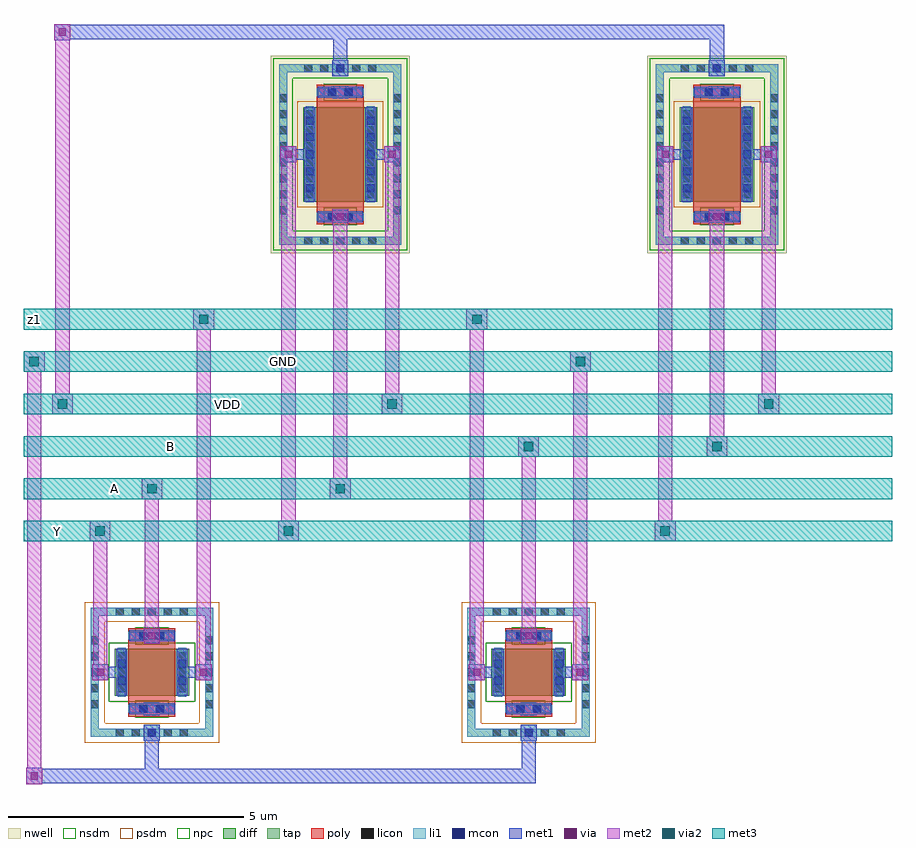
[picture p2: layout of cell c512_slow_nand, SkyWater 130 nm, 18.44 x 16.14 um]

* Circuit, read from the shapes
.subckt c512_slow_nand A B GND VDD Y z1
XM1 z1 A Y GND sky130_fd_pr__nfet_01v8 w=1 l=1
XM2 GND B z1 GND sky130_fd_pr__nfet_01v8 w=1 l=1
XM3 VDD A Y VDD sky130_fd_pr__pfet_01v8 w=2 l=1
XM4 VDD B Y VDD sky130_fd_pr__pfet_01v8 w=2 l=1
.ends

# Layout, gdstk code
import gdstk
lib = gdstk.Library(unit=1e-6, precision=1e-09)
def R(c, l, rs):  # rectangles x0, y0, x1, y1
    for r in rs: c.add(gdstk.rectangle(r[:2], r[2:], *l))
def A(c, l, x, y, w, h, nx, ny, dx, dy):  # array of equal rectangles
    R(c, l, [(x+i*dx, y+j*dy, x+i*dx+w, y+j*dy+h) for i in range(nx) for j in range(ny)])
nwell = (64, 20)
diff = (65, 20)
tap = (65, 44)
poly = (66, 20)
licon = (66, 44)
li1 = (67, 20)
mcon = (67, 44)
met1 = (68, 20)
via = (68, 44)
met2 = (69, 20)
via2 = (69, 44)
met3 = (70, 20)
nsdm = (93, 44)
psdm = (94, 20)
npc = (95, 20)

c512_slow_nand = lib.new_cell('c512_slow_nand')
R(c512_slow_nand, nwell, [(5.52,8.905,8.48,13.095), (13.52,8.905,16.48,13.095)])
R(c512_slow_nand, diff, [(2.21,-0.5,3.79,0.5), (10.21,-0.5,11.79,0.5), (6.21,10,7.79,12), (14.21,10,15.79,12)])
R(c512_slow_nand, tap, [(1.7,-1.37,4.3,-1.2), (9.7,-1.37,12.3,-1.2), (1.7,-1.2,1.87,1.2), (4.13,-1.2,4.3,1.2), (9.7,-1.2,9.87,1.2), (12.13,-1.2,12.3,1.2), (1.7,1.2,4.3,1.37), (9.7,1.2,12.3,1.37), (5.7,9.085,8.3,9.255), (13.7,9.085,16.3,9.255), (5.7,9.255,5.87,12.745), (8.13,9.255,8.3,12.745), (13.7,9.255,13.87,12.745), (16.13,9.255,16.3,12.745), (5.7,12.745,8.3,12.915), (13.7,12.745,16.3,12.915)])
R(c512_slow_nand, poly, [(2.5,-0.94,3.5,0.94), (10.5,-0.94,11.5,0.94), (6.5,9.515,7.5,12.485), (14.5,9.515,15.5,12.485)])
A(c512_slow_nand, licon, 2.235, -1.37, 0.17, 0.17, 5, 2, 0.34, 2.57)
A(c512_slow_nand, licon, 10.235, -1.37, 0.17, 0.17, 5, 2, 0.34, 2.57)
A(c512_slow_nand, licon, 1.7, -0.765, 0.17, 0.17, 1, 5, 0, 0.34)
A(c512_slow_nand, licon, 4.13, -0.765, 0.17, 0.17, 1, 5, 0, 0.34)
A(c512_slow_nand, licon, 9.7, -0.765, 0.17, 0.17, 1, 5, 0, 0.34)
A(c512_slow_nand, licon, 12.13, -0.765, 0.17, 0.17, 1, 5, 0, 0.34)
A(c512_slow_nand, licon, 2.27, -0.425, 0.17, 0.17, 1, 3, 0, 0.34)
A(c512_slow_nand, licon, 3.56, -0.425, 0.17, 0.17, 1, 3, 0, 0.34)
A(c512_slow_nand, licon, 10.27, -0.425, 0.17, 0.17, 1, 3, 0, 0.34)
A(c512_slow_nand, licon, 11.56, -0.425, 0.17, 0.17, 1, 3, 0, 0.34)
A(c512_slow_nand, licon, 6.235, 9.085, 0.17, 0.17, 5, 2, 0.34, 3.66)
A(c512_slow_nand, licon, 14.235, 9.085, 0.17, 0.17, 5, 2, 0.34, 3.66)
A(c512_slow_nand, licon, 5.7, 9.725, 0.17, 0.17, 1, 8, 0, 0.34)
A(c512_slow_nand, licon, 8.13, 9.725, 0.17, 0.17, 1, 8, 0, 0.34)
A(c512_slow_nand, licon, 13.7, 9.725, 0.17, 0.17, 1, 8, 0, 0.34)
A(c512_slow_nand, licon, 16.13, 9.725, 0.17, 0.17, 1, 8, 0, 0.34)
A(c512_slow_nand, licon, 6.27, 10.065, 0.17, 0.17, 1, 6, 0, 0.34)
A(c512_slow_nand, licon, 7.56, 10.065, 0.17, 0.17, 1, 6, 0, 0.34)
A(c512_slow_nand, licon, 14.27, 10.065, 0.17, 0.17, 1, 6, 0, 0.34)
A(c512_slow_nand, licon, 15.56, 10.065, 0.17, 0.17, 1, 6, 0, 0.34)
R(c512_slow_nand, licon, [(2.745,-0.86,2.915,-0.69), (3.085,-0.86,3.255,-0.69), (10.745,-0.86,10.915,-0.69), (11.085,-0.86,11.255,-0.69), (2.745,0.69,2.915,0.86), (3.085,0.69,3.255,0.86), (10.745,0.69,10.915,0.86), (11.085,0.69,11.255,0.86), (6.745,9.595,6.915,9.765), (7.085,9.595,7.255,9.765), (14.745,9.595,14.915,9.765), (15.085,9.595,15.255,9.765), (6.745,12.235,6.915,12.405), (7.085,12.235,7.255,12.405), (14.745,12.235,14.915,12.405), (15.085,12.235,15.255,12.405)])
R(c512_slow_nand, li1, [(2.83,-1.455,3.17,-1.37), (10.83,-1.455,11.17,-1.37), (1.7,-1.37,4.3,-1.2), (9.7,-1.37,12.3,-1.2), (1.7,-1.2,1.87,1.2), (2.83,-1.2,3.17,-1.115), (4.13,-1.2,4.3,1.2), (9.7,-1.2,9.87,1.2), (10.83,-1.2,11.17,-1.115), (12.13,-1.2,12.3,1.2), (2.5,-0.86,3.5,-0.69), (10.5,-0.86,11.5,-0.69), (2.27,-0.52,2.44,0.52), (3.56,-0.52,3.73,0.52), (10.27,-0.52,10.44,0.52), (11.56,-0.52,11.73,0.52), (2.5,0.69,3.5,0.86), (10.5,0.69,11.5,0.86), (1.7,1.2,4.3,1.37), (9.7,1.2,12.3,1.37), (5.7,9.085,8.3,9.255), (13.7,9.085,16.3,9.255), (5.7,9.255,5.87,12.745), (8.13,9.255,8.3,12.745), (13.7,9.255,13.87,12.745), (16.13,9.255,16.3,12.745), (6.5,9.595,7.5,9.765), (14.5,9.595,15.5,9.765), (6.27,9.98,6.44,12.02), (7.56,9.98,7.73,12.02), (14.27,9.98,14.44,12.02), (15.56,9.98,15.73,12.02), (6.5,12.235,7.5,12.405), (14.5,12.235,15.5,12.405), (6.83,12.66,7.17,12.745), (14.83,12.66,15.17,12.745), (5.7,12.745,8.3,12.915), (13.7,12.745,16.3,12.915), (6.83,12.915,7.17,13), (14.83,12.915,15.17,13)])
A(c512_slow_nand, mcon, 6.27, 10.195, 0.17, 0.17, 1, 5, 0, 0.36)
A(c512_slow_nand, mcon, 7.56, 10.195, 0.17, 0.17, 1, 5, 0, 0.36)
A(c512_slow_nand, mcon, 14.27, 10.195, 0.17, 0.17, 1, 5, 0, 0.36)
A(c512_slow_nand, mcon, 15.56, 10.195, 0.17, 0.17, 1, 5, 0, 0.36)
R(c512_slow_nand, mcon, [(2.915,-1.37,3.085,-1.2), (10.915,-1.37,11.085,-1.2), (2.735,-0.86,2.905,-0.69), (3.095,-0.86,3.265,-0.69), (10.735,-0.86,10.905,-0.69), (11.095,-0.86,11.265,-0.69), (2.27,-0.265,2.44,-0.095), (3.56,-0.265,3.73,-0.095), (10.27,-0.265,10.44,-0.095), (11.56,-0.265,11.73,-0.095), (2.27,0.095,2.44,0.265), (3.56,0.095,3.73,0.265), (10.27,0.095,10.44,0.265), (11.56,0.095,11.73,0.265), (2.735,0.69,2.905,0.86), (3.095,0.69,3.265,0.86), (10.735,0.69,10.905,0.86), (11.095,0.69,11.265,0.86), (6.735,9.595,6.905,9.765), (7.095,9.595,7.265,9.765), (14.735,9.595,14.905,9.765), (15.095,9.595,15.265,9.765), (6.735,12.235,6.905,12.405), (7.095,12.235,7.265,12.405), (14.735,12.235,14.905,12.405), (15.095,12.235,15.265,12.405), (6.915,12.745,7.085,12.915), (14.915,12.745,15.085,12.915)])
R(c512_slow_nand, met1, [(0.33,-2.37,0.67,-2.35), (0.33,-2.35,11.15,-2.05), (0.33,-2.05,0.67,-2.03), (2.85,-2.05,3.15,-1.455), (10.85,-2.05,11.15,-1.455), (2.83,-1.455,3.17,-1.115), (10.83,-1.455,11.17,-1.115), (2.83,-0.905,3.17,-0.89), (10.83,-0.905,11.17,-0.89), (2.52,-0.89,3.48,-0.66), (10.52,-0.89,11.48,-0.66), (2.83,-0.66,3.17,-0.645), (10.83,-0.66,11.17,-0.645), (2.24,-0.5,2.47,-0.115), (3.53,-0.5,3.76,-0.115), (10.24,-0.5,10.47,-0.115), (11.53,-0.5,11.76,-0.115), (1.73,-0.17,2.07,-0.115), (3.93,-0.17,4.27,-0.115), (9.73,-0.17,10.07,-0.115), (11.93,-0.17,12.27,-0.115), (1.73,-0.115,2.47,0.115), (3.53,-0.115,4.27,0.115), (9.73,-0.115,10.47,0.115), (11.53,-0.115,12.27,0.115), (1.73,0.115,2.07,0.17), (2.24,0.115,2.47,0.5), (3.53,0.115,3.76,0.5), (3.93,0.115,4.27,0.17), (9.73,0.115,10.07,0.17), (10.24,0.115,10.47,0.5), (11.53,0.115,11.76,0.5), (11.93,0.115,12.27,0.17), (2.83,0.645,3.17,0.66), (10.83,0.645,11.17,0.66), (2.52,0.66,3.48,0.89), (10.52,0.66,11.48,0.89), (2.83,0.89,3.17,0.905), (10.83,0.89,11.17,0.905), (6.83,9.55,7.17,9.565), (14.83,9.55,15.17,9.565), (6.52,9.565,7.48,9.795), (14.52,9.565,15.48,9.795), (6.83,9.795,7.17,9.81), (14.83,9.795,15.17,9.81), (6.24,10,6.47,10.885), (7.53,10,7.76,10.885), (14.24,10,14.47,10.885), (15.53,10,15.76,10.885), (5.73,10.83,6.07,10.885), (7.93,10.83,8.27,10.885), (13.73,10.83,14.07,10.885), (15.93,10.83,16.27,10.885), (5.73,10.885,6.47,11.115), (7.53,10.885,8.27,11.115), (13.73,10.885,14.47,11.115), (15.53,10.885,16.27,11.115), (5.73,11.115,6.07,11.17), (6.24,11.115,6.47,12), (7.53,11.115,7.76,12), (7.93,11.115,8.27,11.17), (13.73,11.115,14.07,11.17), (14.24,11.115,14.47,12), (15.53,11.115,15.76,12), (15.93,11.115,16.27,11.17), (6.83,12.19,7.17,12.205), (14.83,12.19,15.17,12.205), (6.52,12.205,7.48,12.435), (14.52,12.205,15.48,12.435), (6.83,12.435,7.17,12.45), (14.83,12.435,15.17,12.45), (6.83,12.66,7.17,13), (14.83,12.66,15.17,13), (6.85,13,7.15,13.45), (14.85,13,15.15,13.45), (0.93,13.43,1.27,13.45), (0.93,13.45,15.15,13.75), (0.93,13.75,1.27,13.77)])
R(c512_slow_nand, via, [(0.425,-2.275,0.575,-2.125), (1.825,-0.075,1.975,0.075), (4.025,-0.075,4.175,0.075), (9.825,-0.075,9.975,0.075), (12.025,-0.075,12.175,0.075), (2.925,0.7,3.075,0.85), (10.925,0.7,11.075,0.85), (6.925,9.605,7.075,9.755), (14.925,9.605,15.075,9.755), (5.825,10.925,5.975,11.075), (8.025,10.925,8.175,11.075), (13.825,10.925,13.975,11.075), (16.025,10.925,16.175,11.075), (1.025,13.525,1.175,13.675)])
R(c512_slow_nand, met2, [(0.33,-2.37,0.67,-2.03), (0.35,-2.03,0.65,6.38), (1.73,-0.17,2.07,0.17), (3.93,-0.17,4.27,0.17), (9.73,-0.17,10.07,0.17), (11.93,-0.17,12.27,0.17), (1.75,0.17,2.05,2.78), (3.95,0.17,4.25,7.28), (9.75,0.17,10.05,7.28), (11.95,0.17,12.25,6.38), (2.83,0.605,3.17,0.945), (10.83,0.605,11.17,0.945), (2.85,0.945,3.15,3.68), (10.85,0.945,11.15,4.58), (1.68,2.78,2.12,3.22), (5.68,2.78,6.12,3.22), (13.68,2.78,14.12,3.22), (5.75,3.22,6.05,10.83), (13.75,3.22,14.05,10.83), (2.78,3.68,3.22,4.12), (6.78,3.68,7.22,4.12), (6.85,4.12,7.15,9.51), (10.78,4.58,11.22,5.02), (14.78,4.58,15.22,5.02), (14.85,5.02,15.15,9.51), (0.88,5.48,1.32,5.92), (7.88,5.48,8.32,5.92), (15.88,5.48,16.32,5.92), (0.95,5.92,1.25,13.43), (7.95,5.92,8.25,10.83), (15.95,5.92,16.25,10.83), (0.28,6.38,0.72,6.82), (11.88,6.38,12.32,6.82), (3.88,7.28,4.32,7.72), (9.68,7.28,10.12,7.72), (6.83,9.51,7.17,9.85), (14.83,9.51,15.17,9.85), (5.73,10.83,6.07,11.17), (7.93,10.83,8.27,11.17), (13.73,10.83,14.07,11.17), (15.93,10.83,16.27,11.17), (0.93,13.43,1.27,13.77)])
R(c512_slow_nand, via2, [(1.8,2.9,2,3.1), (5.8,2.9,6,3.1), (13.8,2.9,14,3.1), (2.9,3.8,3.1,4), (6.9,3.8,7.1,4), (10.9,4.7,11.1,4.9), (14.9,4.7,15.1,4.9), (1,5.6,1.2,5.8), (8,5.6,8.2,5.8), (16,5.6,16.2,5.8), (0.4,6.5,0.6,6.7), (12,6.5,12.2,6.7), (4,7.4,4.2,7.6), (9.8,7.4,10,7.6)])
A(c512_slow_nand, met3, 0.28, 2.78, 18.44, 0.44, 1, 6, 0, 0.9)
R(c512_slow_nand, nsdm, [(2.085,-0.625,3.915,0.625), (10.085,-0.625,11.915,0.625), (5.575,8.96,8.425,9.38), (13.575,8.96,16.425,9.38), (5.575,9.38,5.995,12.62), (8.005,9.38,8.425,12.62), (13.575,9.38,13.995,12.62), (16.005,9.38,16.425,12.62), (5.575,12.62,8.425,13.04), (13.575,12.62,16.425,13.04)])
R(c512_slow_nand, psdm, [(1.575,-1.495,4.425,-1.075), (9.575,-1.495,12.425,-1.075), (1.575,-1.075,1.995,1.075), (4.005,-1.075,4.425,1.075), (9.575,-1.075,9.995,1.075), (12.005,-1.075,12.425,1.075), (1.575,1.075,4.425,1.495), (9.575,1.075,12.425,1.495), (6.085,9.875,7.915,12.125), (14.085,9.875,15.915,12.125)])
R(c512_slow_nand, npc, [(2.645,-0.96,3.355,-0.59), (10.645,-0.96,11.355,-0.59), (2.645,0.59,3.355,0.96), (10.645,0.59,11.355,0.96), (6.645,9.495,7.355,9.865), (14.645,9.495,15.355,9.865), (6.645,12.135,7.355,12.505), (14.645,12.135,15.355,12.505)])
c512_slow_nand.add(gdstk.Label('z1', (0.5,7.5), layer=70, texttype=5))
c512_slow_nand.add(gdstk.Label('Y', (1,3), layer=70, texttype=5))
c512_slow_nand.add(gdstk.Label('A', (2.2,3.9), layer=70, texttype=5))
c512_slow_nand.add(gdstk.Label('B', (3.4,4.8), layer=70, texttype=5))
c512_slow_nand.add(gdstk.Label('VDD', (4.6,5.7), layer=70, texttype=5))
c512_slow_nand.add(gdstk.Label('GND', (5.8,6.6), layer=70, texttype=5))

lib.write_gds('c512_slow_nand.gds')
